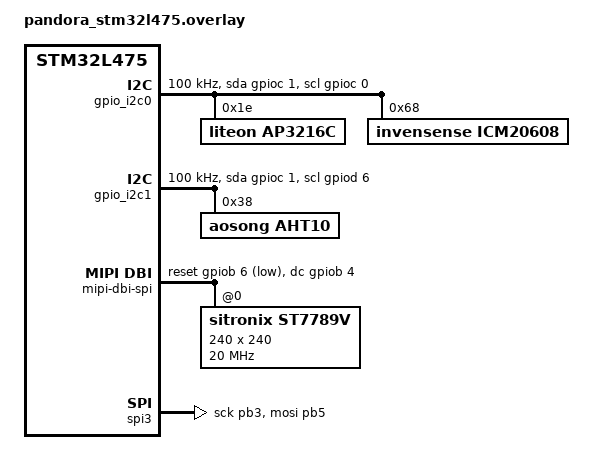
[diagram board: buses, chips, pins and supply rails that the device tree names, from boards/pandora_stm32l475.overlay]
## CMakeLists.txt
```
# SPDX-License-Identifier: Apache-2.0
cmake_minimum_required(VERSION 3.20.0)

# 查找 Zephyr 构建系统
find_package(Zephyr REQUIRED HINTS $ENV{ZEPHYR_BASE})

# 项目名称
project(stm32_ai)

# 添加应用源文件 — 每类功能对应独立文件
target_sources(app PRIVATE
	src/main.c
	src/led_thread.c
	src/aht10_thread.c
	src/ap3216c_thread.c
	src/icm20608_thread.c
	src/display_thread.c    # ★ LVGL 动画显示
	# src/norflash_thread.c  # ★ NOR Flash 自检 — 已关闭
)

# 添加传感器驱动源文件 — 每个传感器对应独立驱动目录
target_sources(app PRIVATE
	drivers/sensor/aht10/aht10.c
	drivers/sensor/ap3216c/ap3216c.c
	drivers/sensor/icm20608/icm20608.c
)

# 添加头文件搜索路径
target_include_directories(app PRIVATE
	include
	drivers/sensor/aht10
	drivers/sensor/ap3216c
	drivers/sensor/icm20608
)
```

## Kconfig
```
# Kconfig - STM32 AI 应用配置
# 必须引用 Zephyr 主 Kconfig 文件

source "Kconfig.zephyr"
rsource "drivers/sensor/Kconfig"
```

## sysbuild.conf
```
# sysbuild.conf — Sysbuild 多镜像构建配置
# 启用 MCUboot 作为二级引导程序，采用 Overwrite-Only 模式

SB_CONFIG_BOOTLOADER_MCUBOOT=y
SB_CONFIG_MCUBOOT_MODE_OVERWRITE_ONLY=y

# 项目专用 RSA-2048 签名密钥（sysbuild 级配置，会写入 MCUboot 子镜像的 .config.sysbuild）
SB_CONFIG_BOOT_SIGNATURE_KEY_FILE="E:/zephyrproject/stm32_ai/root-rsa-2048.pem"
```

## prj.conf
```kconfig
#
# Kernel & System (内核与系统基础)
#
# 定义系统时钟滴答的频率
CONFIG_SYS_CLOCK_TICKS_PER_SEC=1000
# 详细注释：v4.4.0 推荐使用 picolibc 以获得更小的 Flash 占用
CONFIG_PICOLIBC=y
# LVGL初始化或文件系统操作会复用main stack，因此需要增加 main stack size
CONFIG_MAIN_STACK_SIZE=6144
# 开启 Zephyr 的输入子系统
CONFIG_INPUT=y
# 初始化任务栈（用特定字节填充，用于监测栈使用量）
CONFIG_INIT_STACKS=y

#
# ==========================================================
# 第一部分：Console (控制台) - 解决“信息从哪发出来”
# ==========================================================
# 启用控制台基础功能
CONFIG_CONSOLE=y
# 启用早期控制台支持（内核启动初期的日志输出）
CONFIG_EARLY_CONSOLE=y

# 【关键点】必须为 y！
# 它是内核启动早期（Shell还没启动时）打印 Zephyr 版本信息的唯一通道。
# 如果设为 n，你将看不到 "*** Booting Zephyr OS ***" 这一行。
CONFIG_UART_CONSOLE=y

# 允许 printk 函数将信息发送到控制台
CONFIG_STDOUT_CONSOLE=y

# ==========================================================
# 第二部分：Logging (日志) - 解决“系统发生了什么”
# ==========================================================
# 启用日志系统
CONFIG_LOG=y

# 设置日志的显示模式
# 由于我们要用 Shell 来显示日志，所以禁用掉原始的 UART 直接输出模式，
# 防止日志和 Shell 的字符在屏幕上打架（乱码）。
CONFIG_LOG_BACKEND_UART=n

# 允许 printk 输出的信息也被当作日志处理
CONFIG_LOG_PRINTK=y

# 日志级别设置（4 是最高级别 INFO，能看到大部分信息）
CONFIG_LOG_MAX_LEVEL=4
CONFIG_LOG_DEFAULT_LEVEL=3

# ==========================================================
# 第三部分：Shell (外壳) - 解决“如何与开发板交互”
# ==========================================================
# 启用 Shell 功能
CONFIG_SHELL=y
CONFIG_SHELL_BACKENDS=y

# Shell 命令行线程栈大小
CONFIG_SHELL_STACK_SIZE=6144

# 启用串口作为 Shell 的后端（让你可以通过串口助手输入命令）
CONFIG_SHELL_BACKEND_SERIAL=y

# 启用 Shell 的日志后端
# 作用：让 Shell 接管 Log 系统的输出。
# 开启后，当系统产生日志时，Shell 会整齐地把它打印出来，
# 并且不会打断你正在输入的命令行（它会自动处理换行和光标）。
CONFIG_SHELL_LOG_BACKEND=y

# 设置 Shell 提示符，你在串口看到的就会是 my_board:~$
CONFIG_SHELL_PROMPT_UART="zephyr:~$ "

# 
# MCUboot 核心引导配置
# 
# 告诉 Zephyr 内核：当前应用程序是运行在 MCUboot 引导程序之上的
# 开启后，系统会自动处理好固件在 Flash 中的地址偏移（例如自动偏移到 0x20000）
CONFIG_BOOTLOADER_MCUBOOT=y

# prj.conf - STM32 AI 应用 Kconfig 配置
#
# USART1 (PA9/PA10): Shell/日志 + mcumgr SMP（分时复用）

# GPIO
CONFIG_GPIO=y

# I2C (传感器)
CONFIG_I2C=y
CONFIG_I2C_GPIO=y

# SPI (LCD)
CONFIG_SPI=y

# 传感器子系统
CONFIG_SENSOR=y

# === STM32 Flash 驱动 (内部 Flash + NOR Flash, indirect 模式) ===
# ★ QSPI 仅用 indirect 模式 — STM32L4 QUADSPI 不能同时开 indirect + MEMMAP
CONFIG_FLASH=y
CONFIG_SOC_FLASH_STM32=y
CONFIG_FLASH_MAP=y
CONFIG_STREAM_FLASH=y
CONFIG_IMG_MANAGER=y
CONFIG_FLASH_STM32_QSPI=y
# CONFIG_STM32_MEMMAP is not set  ← ★ 关键：应用层也不开 memory-mapped 模式
CONFIG_DMA=y

# === mcumgr SMP ===
CONFIG_NET_BUF=y
CONFIG_ZCBOR=y
CONFIG_BASE64=y
CONFIG_CRC=y
CONFIG_MCUMGR=y
CONFIG_MCUMGR_TRANSPORT_SHELL=y
CONFIG_MCUMGR_GRP_IMG=y
CONFIG_MCUMGR_GRP_OS=y
CONFIG_SHELL_BACKEND_DUMMY=y

# === 显示子系统 ===
# 启用 Zephyr 显示框架
CONFIG_DISPLAY=y

# === LVGL 图形库 ===
# 启用 LVGL 图形界面库
CONFIG_LVGL=y
# LVGL 颜色深度设置
CONFIG_LV_COLOR_DEPTH_16=y
# 设置 LVGL 每个像素占用的字节数 (16 位颜色即 2 字节)
CONFIG_LV_Z_BITS_PER_PIXEL=16
# 启用 16 位颜色字节交换 (RGB565 格式)
# 如果不开启 SWAP:数据存储顺序可能是 [高8位] [低8位](Big Endian)。
# 开启 SWAP 后：数据会被软件强制变成 [低8位] [高8位](Little Endian)。
# SPI 接口发送数据通常是按字节发送的,如果MCU是小端模式(Little Endian),
# 而屏幕期望的是大端数据（或者反过来）,像素传过去后,字节顺序反了.
# 现象:屏幕能显示图像,但颜色非常诡异,像杂色、花屏,或者颜色有颗粒感.
CONFIG_LV_COLOR_16_SWAP=y
# LVGL 内存池大小设置,给控件之类使用 (16 KB)
CONFIG_LV_Z_MEM_POOL_SIZE=16384
# 将 LVGL 内存池放在 Zephyr 的 Memory Region 中，允许我们指定它放在 SRAM1
CONFIG_LV_Z_MEMORY_POOL_ZEPHYR_REGION=y
# 指定设备树中的 SRAM1 区域作为 LVGL 内存池的存放位置
CONFIG_LV_Z_MEMORY_POOL_ZEPHYR_REGION_NAME="SRAM1"
# 绘图缓冲区（画布大小，240x240/10 像素）
CONFIG_LV_Z_VDB_SIZE=10
# 显存位置重定向 (使用 Memory Region 模式)
# 开启内存域放置功能，允许我们指定显存放在特定的内存区域（如 SDRAM）
CONFIG_LV_Z_VDB_ZEPHYR_REGION=y
# 指定设备树中的 SRAM1 区域
CONFIG_LV_Z_VDB_ZEPHYR_REGION_NAME="SRAM1"
# 启用 Montserrat 字体支持
CONFIG_LV_FONT_MONTSERRAT_24=y
CONFIG_LV_FONT_MONTSERRAT_32=y
CONFIG_LV_FONT_MONTSERRAT_48=y
# LVGL默认字体设置,默认是MONTSERRAT_14
# CONFIG_LV_FONT_DEFAULT_MONTSERRAT_8=y
```

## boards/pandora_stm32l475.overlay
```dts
/*
 * pandora_stm32l475.overlay — 设备树覆盖文件
 *
 * 功能:
 *   1. 为绿色 LED 添加便捷别名
 *   2. 定义 Flash 分区 — slot1 在外部 NOR Flash (W25Q128), slot0 448KB
 *   3. 指定应用代码链接分区 (slot0, 0x08010000)
 *   4. 配置 GPIO-I2C 软件模拟总线 (AHT10 / AP3216C / ICM20608)
 *
 * 硬件: Pandora STM32L475 IoT Board
 * 架构: USART1 (PA9/PA10) — 应用 Shell/日志 + mcumgr SMP（分时复用）
 *       Shell 和 mcumgr SMP 通过 Shell 传输层共存，无冲突
 *
 * ★ 串口升级方案（无按键）:
 *   应用层 mcumgr 接收固件 → 写入 slot1 (NOR Flash, QSPI indirect 模式) →
 *   标记 pending → 重启 → MCUboot 覆写 slot1→slot0 → 启动新固件
 *
 * Flash 布局 (NOR Flash 方案, QSPI indirect 模式, 不开 MEMMAP):
 *   内部 Flash (512KB):
 *     boot_partition:  64KB @ 0x08000000
 *     slot0_partition: 448KB @ 0x08010000 (应用主镜像, 空间最大化)
 *   外部 NOR Flash W25Q128 (16MB):
 *     slot1_partition: 448KB @ 0x00000000 (升级暂存槽)
 */

#include <zephyr/dt-bindings/i2c/i2c.h>
#include <zephyr/dt-bindings/display/panel.h>

/ {
	aliases {
		led0 = &blue_led;
		green-led = &green_led;
	};

	chosen {
		/* ★ 指定应用代码分区 — 应用链接到 slot0 (0x08010000) */
		zephyr,code-partition = &slot0_partition;
		/* ★ LVGL 显示设备 */
		zephyr,display = &st7789v;
	};

	/* [GPIO-I2C 0] SDA=PC1, SCL=PC0 — AP3216C (0x1E) + ICM20608 (0x68) */
	gpio_i2c0: gpio_i2c0 {
		compatible = "gpio-i2c";
		status = "okay";
		sda-gpios = <&gpioc 1 (GPIO_ACTIVE_HIGH | GPIO_OPEN_DRAIN)>;
		scl-gpios = <&gpioc 0 (GPIO_ACTIVE_HIGH | GPIO_OPEN_DRAIN)>;
		clock-frequency = <I2C_BITRATE_STANDARD>;
		#address-cells = <1>;
		#size-cells = <0>;

		ap3216c: ap3216c@1e {
			compatible = "liteon,ap3216c";
			reg = <0x1e>;
			status = "okay";
		};

		icm20608: icm20608@68 {
			compatible = "invensense,icm20608";
			reg = <0x68>;
			status = "okay";
		};
	};

	/* [GPIO-I2C 1] SDA=PC1, SCL=PD6 — AHT10 (0x38) */
	gpio_i2c1: gpio_i2c1 {
		compatible = "gpio-i2c";
		status = "okay";
		sda-gpios = <&gpioc 1 (GPIO_ACTIVE_HIGH | GPIO_OPEN_DRAIN)>;
		scl-gpios = <&gpiod 6 (GPIO_ACTIVE_HIGH | GPIO_OPEN_DRAIN)>;
		clock-frequency = <I2C_BITRATE_STANDARD>;
		#address-cells = <1>;
		#size-cells = <0>;

		aht10: aht10@38 {
			compatible = "aosong,aht10";
			reg = <0x38>;
			status = "okay";
		};
	};

	/*
	 * [MIPI-DBI-SPI 桥 + ST7789V 显示]
	 *
	 * 硬件连接 (SPI3):
	 *   SCK=PB3, MOSI=PB5, CS=PD7, DC=PB4, RST=PB6, BL=PB7
	 */
	mipi-dbi-spi {
		compatible = "zephyr,mipi-dbi-spi";
		spi-dev = <&spi3>;
		/* * 数据/命令选择引脚 (Data/Command)
		* 对应物理引脚 PB11，高电平有效 (GPIO_ACTIVE_HIGH)
		*/
		dc-gpios = <&gpiob 4 GPIO_ACTIVE_HIGH>;
		/* * 复位引脚 (Reset)
		* 对应物理引脚 PB10，低电平有效 (GPIO_ACTIVE_LOW)，拉低复位
		*/
		reset-gpios = <&gpiob 6 GPIO_ACTIVE_LOW>;
		write-only;
		status = "okay";
		#address-cells = <1>;
		#size-cells = <0>;

		st7789v:st7789v@0 {
			compatible = "sitronix,st7789v";
			status = "okay";
			mipi-mode = "MIPI_DBI_MODE_SPI_4WIRE";
			/* * SPI 通信最大频率
			* 这里设置为 4MHz (4,000,000 Hz)
			*/
			mipi-max-frequency = <20000000>;
			/* * 片选索引
			* <0> 表示使用 SPI 控制器的第 0 个片选引脚 
			*/
			reg = <0>;

			/* ========= 屏幕物理参数 ========= */

			/* 屏幕宽度：240 像素 */
			width = <240>;
			/* 屏幕高度：280 像素 */
			height = <240>;
			/* * X 轴偏移量
			* ST7789 驱动芯片支持的分辨率往往比实际屏幕大，需要设置偏移量来对齐图像
			*/
			x-offset = <0>;
			/* Y 轴偏移量：20 像素 */
			y-offset = <0>;

			pixel-format = <PANEL_PIXEL_FORMAT_RGB_565>;

			/* ========= 寄存器初始化参数 (对应 st7789v.h) ========= */

			/* * VCOMS 设置 (VCOMS Setting)
			* 对应头文件命令: ST7789V_CMD_VCOMS (0xBB)
			* 作用: 设置 VCOM 电压，控制屏幕对比度和闪烁
			* 当前值: 0x3F (十进制 63)
			*/
			vcom = <0x19>;
			/* * 栅极控制 (Gate Control)
			* 对应头文件命令: ST7789V_CMD_GCTRL (0xB7)
			* 作用: 设置栅极电压输出电平 (VGH/VGL)
			* 当前值: 0x05 (具体电压需查阅数据手册电气特性表)
			*/
			gctrl = <0x35>;
			/* * VRH 设置 (VRH Setting)
			* 对应头文件命令: ST7789V_CMD_VRH (0xC3)
			* 作用: VRH 电压设置，影响显示屏的伽马电压幅度
			* 当前值: 0x0F
			*/
			vrhs = <0x12>;
			/* * VDV 设置 (VDV Setting)
			* 对应头文件命令: ST7789V_CMD_VDS (0xC4)
			* 作用: VDV 电压设置，与 VRH 配合调节
			* 当前值: 0x20
			*/
			vdvs = <0x20>;
			/* * 存储数据访问控制 (Memory Data Access Control)
			* 对应头文件命令: ST7789V_CMD_MADCTL (0x36)
			* 作用: 控制屏幕旋转、镜像、RGB/BGR 顺序(红蓝反色)
			* 当前值: 0x00 
			* 解析: 对应 ST7789V_MADCTL_MY_TOP_TO_BOTTOM (0x00) | ST7789V_MADCTL_MX_LEFT_TO_RIGHT (0x00)
			* 含义: 正常显示，无旋转，RGB 顺序
			*/
			mdac = <0x00>;
			/* * 伽马曲线选择 (Gamma Set)
			* 对应头文件命令: ST7789V_CMD_GAMSET (0x26)
			* 作用: 选择预设的伽马曲线
			* 当前值: 0x01 (通常表示使用 Gamma Curve 1)
			*/
			gamma = <0x01>;
			/* * 接口像素格式 (Interface Pixel Format)
			* 对应头文件命令: ST7789V_CMD_COLMOD (0x3A)
			* 作用: 设置颜色深度
			* 当前值: 0x05 
			* 解析: 对应 ST7789V_COLMOD_FMT_16bit (5)
			* 含义: 使用 16位颜色 (RGB565)
			*/
			// colmod = <0x65>;
			/* * LCM 控制 (LCM Control)
			* 对应头文件命令: ST7789V_CMD_LCMCTRL (0xC0)
			* 作用: 某些特定面板的设置
			* 当前值: 0x2c
			* 解析: 0x20 (XBGR) | 0x08 (XMX) | 0x04 (XMH)
			* 含义: 根据头文件，设置了 XBGR, XMX, XMH 位
			*/
			lcm = <0x2c>;
			/* * 前廊控制 (Porch Control)
			* 对应头文件命令: ST7789V_CMD_PORCTRL (0xB2)
			* 作用: 设置前廊、后廊时间，影响刷新时序
			* 参数: [0c 0c 00 33 33] (5个字节的参数序列)
			*/
			porch-param = [0c 0c 00 33 33];
			/* * 命令 2 使能 (Command 2 Enable)
			* 对应头文件命令: ST7789V_CMD_CMD2EN (0xDF)
			* 作用: 开启特殊命令访问权限 (通常用于制造厂商调试)
			* 参数: [5a 69 02 01] (解锁密钥序列)
			*/
			cmd2en-param = [5a 69 02 01];
			/* * 电源控制 1 (Power Control 1)
			* 对应头文件命令: ST7789V_CMD_PWCTRL1 (0xD0)
			* 作用: 设置 AVDD, VCL, VGH, VGL 电压
			* 参数: [a4 a1]
			*/
			pwctrl1-param = [a4 a1];
			/* * 正极性伽马校正 (Positive Gamma Control)
			* 对应头文件命令: ST7789V_CMD_PVGAMCTRL (0xE0)
			* 作用: 调整红色/高亮部分的灰度表现
			* 参数: 14个字节的校准数据
			*/
			pvgam-param = [d0 04 0d 11 13 2b 3f 54 4c 18 0d 0b 1f 23];
			/* * 负极性伽马校正 (Negative Gamma Control)
			* 对应头文件命令: ST7789V_CMD_NVGAMCTRL (0xE1)
			* 作用: 调整暗部/黑色的灰度表现
			* 参数: 14个字节的校准数据
			*/
			nvgam-param = [d0 04 0c 11 13 2c 3f 44 51 2f 1f 1f 20 23];
			/* * RAM 控制 (RAM Control)
			* 对应头文件命令: ST7789V_CMD_RAMCTRL (0xB0)
			* 作用: 设置接口类型和访问方式
			* 参数: [00 F0]
			*/
			ram-param = [00 F0];
			/* * RGB 接口控制 (RGB Interface Control)
			* 对应头文件命令: ST7789V_CMD_RGBCTRL (0xB1)
			* 作用: 设定 RGB 接口的时序和极性
			* 参数: [CD 08 14]
			*/
			rgb-param = [CD 08 14];
			// inversion-off;
		};
	};
};

/* [DMA] QSPI NOR Flash 和 SPI 通信依赖 */
&dma1 {
	status = "okay";
};

&dma2 {
	status = "okay";
};

/* [SPI3] LCD 通信 — SCK=PB3, MOSI=PB5, CS=PD7 */
&spi3 {
	status = "okay";
	pinctrl-0 = <&spi3_sck_pb3 &spi3_mosi_pb5>;
	pinctrl-names = "default";
	cs-gpios = <&gpiod 7 GPIO_ACTIVE_LOW>;
};

/*
 * [Flash 分区] NOR Flash 方案
 *
 * 内部 Flash (512KB):
 * ┌──────────────────┐ 0x08000000
 * │ boot_partition   │ 64KB
 * ├──────────────────┤ 0x08010000
 * │ slot0_partition  │ 448KB (空间最大化)
 * └──────────────────┘ 0x08080000
 *
 * 外部 NOR Flash W25Q128 (16MB):
 * ┌──────────────────┐ 0x00000000
 * │ slot1_partition  │ 448KB (与 slot0 大小一致)
 * └──────────────────┘
 */
&flash0 {
	partitions {
		compatible = "fixed-partitions";
		#address-cells = <1>;
		#size-cells = <1>;

		boot_partition: partition@0 {
			label = "mcuboot";
			reg = <0x00000000 0x10000>;
			read-only;
		};

		slot0_partition: partition@10000 {
			label = "image-0";
			reg = <0x00010000 0x70000>;
		};
	};
};

/* ★ slot1 移到外部 NOR Flash W25Q128 */
&w25q128jv {
	partitions {
		compatible = "fixed-partitions";
		#address-cells = <1>;
		#size-cells = <1>;

		slot1_partition: partition@0 {
			label = "image-1";
			reg = <0x00000000 0x70000>;
		};
	};
};
/*
 * ******************************************************************************
 * ★ slot1 移到外部 NOR Flash W25Q128
 * W25Q128JV 四功能分区级规划（升级/系统/用户/文件系统）
 * ******************************************************************************
 */
&w25q128jv {
    partitions {
        compatible = "fixed-partitions";
        #address-cells = <1>;
        #size-cells = <1>;

        /* ==========================================
         * 1. 升级下载槽 (slot1_partition)
         * 偏移: 0x00000000 -> 大小: 448KB (0x70000)
         * ========================================== */
        slot1_partition: partition@0 {
            label = "image-1";
            reg = <0x00000000 0x70000>;
        };

        /* ==========================================
         * 2. RTOS 系统区 / 备份区 (rtos_sys_partition)
         * 偏移: 0x00070000 (紧接上一分区)
         * 大小: 1MB (0x100000)
         * ========================================== */
        rtos_sys_partition: partition@70000 {
            label = "rtos-system";
            reg = <0x00070000 0x100000>;
        };

        /* ==========================================
         * 3. 用户裸数据使用区 (user_raw_partition)
         * 偏移: 0x00170000 (0x070000 + 0x100000)
         * 大小: 2MB (0x200000)
         * ========================================== */
        user_raw_partition: partition@170000 {
            label = "user-raw";
            reg = <0x00170000 0x200000>;
        };

        /* ==========================================
         * 4. LittleFS 文件系统区 (storage_partition)
         * 偏移: 0x00370000 (0x170000 + 0x200000)
         * 大小: 12.5625MB (0xC90000) -> 吞掉剩下所有空间
         * ========================================== */
        storage_partition: partition@370000 {
            label = "storage";
            reg = <0x00370000 0xC90000>;
        };
    };
};
```

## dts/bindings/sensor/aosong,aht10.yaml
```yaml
# Aosong AHT10 temperature and humidity sensor binding
#
# Copyright (c) 2026
# SPDX-License-Identifier: Apache-2.0

description: |
    Aosong AHT10 digital temperature and humidity sensor.
    Connected via I2C, default address 0x38.
    Measures temperature (-40°C to +85°C) and humidity (0% to 100% RH).

compatible: "aosong,aht10"

include: [sensor-device.yaml, i2c-device.yaml]
```

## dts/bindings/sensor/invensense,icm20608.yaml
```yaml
# InvenSense ICM20608 6-axis IMU sensor binding
#
# Copyright (c) 2026
# SPDX-License-Identifier: Apache-2.0

description: |
    InvenSense ICM-20608-G 6-axis MEMS motion tracking device.
    Connected via I2C (default address 0x68) or SPI.
    Measures 3-axis accelerometer and 3-axis gyroscope data.

compatible: "invensense,icm20608"

include: [sensor-device.yaml, i2c-device.yaml]

properties:
  accel-fs:
    type: int
    default: 2
    enum: [2, 4, 8, 16]
    description: Accelerometer full-scale range in g.

  gyro-fs:
    type: int
    default: 250
    enum: [250, 500, 1000, 2000]
    description: Gyroscope full-scale range in dps.

  smplrt-div:
    type: int
    default: 0
    description: Sample rate divider (sample rate = 1kHz / (1 + smplrt-div)).
```

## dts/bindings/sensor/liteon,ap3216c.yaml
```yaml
# Liteon AP3216C ambient light and proximity sensor binding
#
# Copyright (c) 2026
# SPDX-License-Identifier: Apache-2.0

description: |
    Liteon AP3216C ambient light sensor (ALS), proximity sensor (PS),
    and infrared sensor (IR). Connected via I2C, default address 0x1E.

compatible: "liteon,ap3216c"

include: [sensor-device.yaml, i2c-device.yaml]
```

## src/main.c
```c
/*
 * main.c — STM32 AI 应用主程序
 * 功能: 打印开发板信息，释放 CPU 给工作线程
 * 硬件: Pandora STM32L475 IoT Board
 */

/* [头文件] Zephyr 内核和日志 */
#include <zephyr/kernel.h>
#include <zephyr/logging/log.h>

#include "sensor_data.h"

/* [日志] 注册 main 模块 */
LOG_MODULE_REGISTER(main, LOG_LEVEL_INF);

/* [全局] 传感器共享数据实例 — 所有传感器线程写入，显示线程读取 */
struct sensor_data g_sensor_data;

/* [入口] 主函数 — 只打印信息，业务逻辑交给独立线程 */
int main(void)
{
	/* [信息] 输出当前开发板型号 */
	LOG_INF("应用启动完成, Board: %s", CONFIG_BOARD);

	/* [休眠] 永久休眠，释放 CPU 和栈空间给工作线程 */
	while (1) {
		k_sleep(K_FOREVER);
	}
	return 0;
}
```

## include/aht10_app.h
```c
/*
 * aht10_app.h — AHT10 应用线程公共接口
 *
 * 仅声明线程入口函数，供外部引用 (如 shell 命令)。
 */

#ifndef INCLUDE_AHT10_APP_H_
#define INCLUDE_AHT10_APP_H_

#include <zephyr/kernel.h>

/** AHT10 温湿度采集线程入口 */
extern void aht10_thread_entry(void *p1, void *p2, void *p3);

/** AHT10 线程 ID (由 K_THREAD_DEFINE 定义, 类型为 const) */
extern const k_tid_t aht10_tid;

#endif /* INCLUDE_AHT10_APP_H_ */
```

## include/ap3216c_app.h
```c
/*
 * ap3216c_app.h — AP3216C 应用线程公共接口
 */

#ifndef INCLUDE_AP3216C_APP_H_
#define INCLUDE_AP3216C_APP_H_

#include <zephyr/kernel.h>

/** AP3216C 环境光/接近采集线程入口 */
extern void ap3216c_thread_entry(void *p1, void *p2, void *p3);

/** AP3216C 线程 ID (类型为 const) */
extern const k_tid_t ap3216c_tid;

#endif /* INCLUDE_AP3216C_APP_H_ */
```

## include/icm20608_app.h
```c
/*
 * icm20608_app.h — ICM20608 应用线程公共接口
 */

#ifndef INCLUDE_ICM20608_APP_H_
#define INCLUDE_ICM20608_APP_H_

#include <zephyr/kernel.h>

/** ICM20608 IMU 采集线程入口 */
extern void icm20608_thread_entry(void *p1, void *p2, void *p3);

/** ICM20608 线程 ID (类型为 const) */
extern const k_tid_t icm20608_tid;

#endif /* INCLUDE_ICM20608_APP_H_ */
```

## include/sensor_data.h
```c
/*
 * sensor_data.h — 传感器共享数据结构
 *
 * 所有传感器线程将最新读数写入此结构 (mutex保护)
 * display_thread 通过 lv_timer 回调读取并更新 UI
 */

#ifndef SENSOR_DATA_H
#define SENSOR_DATA_H

#include <zephyr/kernel.h>
#include <stdbool.h>
#include <stdint.h>

struct sensor_data {
	struct k_mutex lock;

	/* AHT10 温湿度 */
	int32_t temp_val1, temp_val2;   /* 温度: val1.val2 (带1位小数) */
	int32_t hum_val1, hum_val2;     /* 湿度: val1.val2 */
	bool aht10_valid;

	/* AP3216C 环境光/接近/红外 */
	int32_t als_val1, als_val2;     /* 环境光 lux */
	int32_t ir_val1, ir_val2;       /* 红外 */
	int32_t ps_val1, ps_val2;       /* 接近 */
	bool ap3216c_valid;

	/* ICM20608 六轴 IMU */
	int32_t accel_x_v1, accel_x_v2; /* 加速度 X */
	int32_t accel_y_v1, accel_y_v2; /* 加速度 Y */
	int32_t accel_z_v1, accel_z_v2; /* 加速度 Z */
	int32_t gyro_x_v1, gyro_x_v2;   /* 陀螺仪 X */
	int32_t gyro_y_v1, gyro_y_v2;   /* 陀螺仪 Y */
	int32_t gyro_z_v1, gyro_z_v2;   /* 陀螺仪 Z */
	bool icm20608_valid;
};

/* 全局传感器数据实例 (main.c 中定义) */
extern struct sensor_data g_sensor_data;

#endif /* SENSOR_DATA_H */
```

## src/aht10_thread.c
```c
/*
 * aht10_thread.c — AHT10 温湿度传感器采集线程
 *
 * 功能: 每 2 秒采集一次温湿度, 写入共享数据结构供显示线程读取
 * 使用 Zephyr 标准传感器 API (sensor_sample_fetch + sensor_channel_get)
 *
 * 硬件: Aosong AHT10 (I2C, 0x38)
 * 驱动: drivers/sensor/aht10/
 *
 * 日志: LOG_LEVEL_WRN — 仅输出警告和错误, 不打印常规数值
 */

#include <zephyr/kernel.h>
#include <zephyr/devicetree.h>
#include <zephyr/drivers/sensor.h>
#include <zephyr/logging/log.h>

#include "sensor_data.h"

LOG_MODULE_REGISTER(aht10_thread, LOG_LEVEL_WRN);

/* 线程参数 */
#define AHT10_STACK_SIZE  1024
#define AHT10_PRIORITY    14
#define AHT10_SAMPLE_MS   2000 /* 采样周期 2s */

/* 从设备树获取传感器设备 */
#define AHT10_DEV_NODE  DT_NODELABEL(aht10)

void aht10_thread_entry(void *p1, void *p2, void *p3)
{
	const struct device *dev = DEVICE_DT_GET(AHT10_DEV_NODE);
	struct sensor_value temp, humidity;
	int ret;

	k_msleep(200);

	if (!device_is_ready(dev)) {
		LOG_ERR("AHT10: device not ready");
		return;
	}

	LOG_INF("AHT10 Thread started");

	while (1) {
		ret = sensor_sample_fetch(dev);
		if (ret == 0) {
			sensor_channel_get(dev, SENSOR_CHAN_AMBIENT_TEMP, &temp);
			sensor_channel_get(dev, SENSOR_CHAN_HUMIDITY, &humidity);

			/* [共享] 写入全局传感器数据结构 */
			k_mutex_lock(&g_sensor_data.lock, K_FOREVER);
			g_sensor_data.temp_val1 = temp.val1;
			g_sensor_data.temp_val2 = temp.val2;
			g_sensor_data.hum_val1  = humidity.val1;
			g_sensor_data.hum_val2  = humidity.val2;
			g_sensor_data.aht10_valid = true;
			k_mutex_unlock(&g_sensor_data.lock);
		} else if (ret == -EBUSY) {
			LOG_WRN("AHT10: busy");
		} else {
			LOG_ERR("AHT10: fetch error (ret=%d)", ret);
		}

		k_msleep(AHT10_SAMPLE_MS);
	}
}

K_THREAD_DEFINE(aht10_tid, AHT10_STACK_SIZE,
		aht10_thread_entry, NULL, NULL, NULL,
		AHT10_PRIORITY, 0, 0);
```

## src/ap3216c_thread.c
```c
/*
 * ap3216c_thread.c — AP3216C 环境光/接近传感器采集线程
 *
 * 功能: 每 500ms 采集一次 ALS/IR/PS, 写入共享数据结构供显示线程读取
 *       使用 Zephyr 标准传感器 API
 *
 * 硬件: Liteon AP3216C (I2C, 0x1E)
 * 驱动: drivers/sensor/ap3216c/
 *
 * 日志: LOG_LEVEL_WRN — 仅输出警告和错误, 不打印常规数值
 */

#include <zephyr/kernel.h>
#include <zephyr/devicetree.h>
#include <zephyr/drivers/sensor.h>
#include <zephyr/logging/log.h>

#include "sensor_data.h"

LOG_MODULE_REGISTER(ap3216c_thread, LOG_LEVEL_WRN);

#define AP3216C_STACK_SIZE  1024
#define AP3216C_PRIORITY    14
#define AP3216C_SAMPLE_MS   500 /* 采样周期 500ms */

#define AP3216C_DEV_NODE  DT_NODELABEL(ap3216c)

void ap3216c_thread_entry(void *p1, void *p2, void *p3)
{
	const struct device *dev = DEVICE_DT_GET(AP3216C_DEV_NODE);
	struct sensor_value als, ir, ps;
	int ret;

	k_msleep(250);

	if (!device_is_ready(dev)) {
		LOG_ERR("AP3216C: device not ready");
		return;
	}

	LOG_INF("AP3216C Thread started");

	while (1) {
		ret = sensor_sample_fetch(dev);
		if (ret == 0) {
			sensor_channel_get(dev, SENSOR_CHAN_LIGHT, &als);
			sensor_channel_get(dev, SENSOR_CHAN_IR, &ir);
			sensor_channel_get(dev, SENSOR_CHAN_PROX, &ps);

			/* [共享] 写入全局传感器数据结构 */
			k_mutex_lock(&g_sensor_data.lock, K_FOREVER);
			g_sensor_data.als_val1 = als.val1;
			g_sensor_data.als_val2 = als.val2;
			g_sensor_data.ir_val1  = ir.val1;
			g_sensor_data.ir_val2  = ir.val2;
			g_sensor_data.ps_val1  = ps.val1;
			g_sensor_data.ps_val2  = ps.val2;
			g_sensor_data.ap3216c_valid = true;
			k_mutex_unlock(&g_sensor_data.lock);
		} else {
			LOG_ERR("AP3216C: read error (ret=%d)", ret);
		}

		k_msleep(AP3216C_SAMPLE_MS);
	}
}

K_THREAD_DEFINE(ap3216c_tid, AP3216C_STACK_SIZE,
		ap3216c_thread_entry, NULL, NULL, NULL,
		AP3216C_PRIORITY, 0, 0);
```

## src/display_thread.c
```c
/*
 * display_thread.c — LVGL 动效验证 (四球公转 + 脉冲中心 + 轨道环)
 *
 * 功能: 验证 LVGL + ST7789V + MIPI-DBI-SPI 显示通路的动画渲染能力
 * 硬件: Pandora STM32L475 IoT Board
 * 显示: ST7789V 240x240 (SPI3)
 * 背光: PB7 GPIO
 *
 * ★ LVGL 通过 CONFIG_LV_Z_AUTO_INIT=y 自动初始化, 本线程不调用 lvgl_init()
 */

/* [头文件] Zephyr 内核、GPIO、显示驱动和日志 */
#include <zephyr/kernel.h>
#include <zephyr/devicetree.h>
#include <zephyr/drivers/gpio.h>
#include <zephyr/drivers/display.h>
#include <zephyr/logging/log.h>

#include <lvgl.h>
#include <math.h>

/* [日志] 注册 display_thread 模块 */
LOG_MODULE_REGISTER(display_thread, LOG_LEVEL_INF);

/* [设备树] 显示设备 */
static const struct device *display_dev = DEVICE_DT_GET(DT_CHOSEN(zephyr_display));

/* [常量] 屏幕中心坐标 (240×240 → 中心 = 120,120) */
#define SCR_CX 120
#define SCR_CY 120

/* [对象] 四颗轨道小球指针 */
static lv_obj_t *ball_r;   /* 红色 — 内轨道 (r=40) */
static lv_obj_t *ball_g;   /* 绿色 — 中内轨道 (r=55) */
static lv_obj_t *ball_b;   /* 蓝色 — 中外轨道 (r=70) */
static lv_obj_t *ball_y;   /* 黄色 — 外轨道 (r=85) */

/* [对象] 中心脉冲圆 */
static lv_obj_t *center_dot;

/* [动画] 全局轨道角度变量 (0~3600, 单位 0.1°, 即 0°~360°) */
static int32_t orbit_angle = 0;

/* ================================================================
 * [动画回调] 轨道小球 — 计算四个球的屏幕坐标并实时更新位置
 *
 * 四颗球以相同角速度、不同轨道半径公转。
 * 相位各差 90° (900 单位), 均匀分布在圆周上。
 * ================================================================ */
static void orbit_anim_cb(void *var, int32_t v)
{
	float rad;
	lv_coord_t x, y;

	/* [数组] 四个球的指针、轨道半径、初始相位 */
	lv_obj_t *targets[4] = { ball_r, ball_g, ball_b, ball_y };
	int32_t  radius[4]   = { 40, 55, 70, 85 };
	int32_t  phase[4]    = { 0, 900, 1800, 2700 };  /* 各差 90° */

	orbit_angle = v;

	for (int i = 0; i < 4; i++) {
		/* 将角度换算为弧度，计算球心坐标 */
		rad = (float)((v + phase[i]) % 3600) * 3.14159f / 1800.0f;
		x = SCR_CX + (lv_coord_t)((float)radius[i] * cosf(rad)) - 7;
		y = SCR_CY + (lv_coord_t)((float)radius[i] * sinf(rad)) - 7;
		lv_obj_set_pos(targets[i], x, y);
	}
}

/* ================================================================
 * [动画回调] 脉冲中心 — 改变圆心控件大小 (10↔24 往返)
 * ================================================================ */
static void pulse_cb(void *var, int32_t v)
{
	lv_obj_set_size(center_dot, (lv_coord_t)v, (lv_coord_t)v);
}

/**
 * @brief 显示线程入口函数
 *
 * 流程 (参照 stm32_app):
 *   1. 等待驱动就绪 → 2. 检查显示设备 → 3. 开启显示
 *   → 4. 开启背光 → 5. 构建动画场景 → 6. 进入 LVGL 主循环
 *
 * ★ 不调用 lvgl_init() — LVGL 已通过 CONFIG_LV_Z_AUTO_INIT=y 自动初始化
 *
 * @param p1, p2, p3 线程参数（由 K_THREAD_DEFINE 传入，此处未使用）
 */
void display_thread_entry(void *p1, void *p2, void *p3)
{
	int ret;

	/* [延时] 等待 SPI/MIPI-DBI/ST7789V 驱动完全就绪 */
	k_msleep(500);

	LOG_INF("Display Thread started");

	/* [检查] 验证显示设备是否已就绪 */
	if (!device_is_ready(display_dev)) {
		LOG_ERR("Display device %s is not ready", display_dev->name);
		return;
	}
	LOG_INF("Found display device: %s", display_dev->name);

	/* [操作] 开启显示面板 */
	ret = display_blanking_off(display_dev);
	if (ret < 0) {
		LOG_ERR("Failed to turn display on (ret=%d)", ret);
		return;
	}
	LOG_INF("Display panel ON");

	/* [背光] PB7 GPIO 使能 LCD 背光 */
	const struct device *gpiob = DEVICE_DT_GET(DT_NODELABEL(gpiob));
	if (device_is_ready(gpiob)) {
		ret = gpio_pin_configure(gpiob, 7, GPIO_OUTPUT_ACTIVE);
		if (ret == 0) {
			gpio_pin_set_raw(gpiob, 7, 1);
			LOG_INF("Backlight ON (PB7)");
		}
	} else {
		LOG_WRN("GPIOB not ready, backlight skipped");
	}

	/* ================================================================
	 * [场景构建] 创建所有动画元素
	 * ================================================================ */

	/* [屏幕] 深色背景 */
	lv_obj_t *scr = lv_scr_act();
	lv_obj_set_style_bg_color(scr, lv_color_hex(0x0A0A18), 0);
	lv_obj_set_style_bg_opa(scr, LV_OPA_COVER, 0);

	/* [控件] 静态轨道参考圆环 — 仅显示边框，透明填充，作视觉引导 */
	lv_obj_t *guide = lv_obj_create(scr);
	lv_obj_set_size(guide, 180, 180);
	lv_obj_set_style_radius(guide, LV_RADIUS_CIRCLE, 0);
	lv_obj_set_style_bg_opa(guide, LV_OPA_TRANSP, 0);
	lv_obj_set_style_border_width(guide, 1, 0);
	lv_obj_set_style_border_color(guide, lv_color_hex(0x1A1A44), 0);
	lv_obj_set_style_border_opa(guide, LV_OPA_60, 0);
	lv_obj_center(guide);

	/* [控件] 红色小球 — 内轨道，半径 40px */
	ball_r = lv_obj_create(scr);
	lv_obj_set_size(ball_r, 14, 14);
	lv_obj_set_style_radius(ball_r, LV_RADIUS_CIRCLE, 0);
	lv_obj_set_style_bg_color(ball_r, lv_color_hex(0xFF3355), 0);
	lv_obj_set_style_border_width(ball_r, 0, 0);
	lv_obj_set_style_bg_opa(ball_r, LV_OPA_COVER, 0);

	/* [控件] 绿色小球 — 中内轨道，半径 55px */
	ball_g = lv_obj_create(scr);
	lv_obj_set_size(ball_g, 14, 14);
	lv_obj_set_style_radius(ball_g, LV_RADIUS_CIRCLE, 0);
	lv_obj_set_style_bg_color(ball_g, lv_color_hex(0x33FF77), 0);
	lv_obj_set_style_border_width(ball_g, 0, 0);
	lv_obj_set_style_bg_opa(ball_g, LV_OPA_COVER, 0);

	/* [控件] 蓝色小球 — 中外轨道，半径 70px */
	ball_b = lv_obj_create(scr);
	lv_obj_set_size(ball_b, 14, 14);
	lv_obj_set_style_radius(ball_b, LV_RADIUS_CIRCLE, 0);
	lv_obj_set_style_bg_color(ball_b, lv_color_hex(0x3399FF), 0);
	lv_obj_set_style_border_width(ball_b, 0, 0);
	lv_obj_set_style_bg_opa(ball_b, LV_OPA_COVER, 0);

	/* [控件] 黄色小球 — 外轨道，半径 85px */
	ball_y = lv_obj_create(scr);
	lv_obj_set_size(ball_y, 14, 14);
	lv_obj_set_style_radius(ball_y, LV_RADIUS_CIRCLE, 0);
	lv_obj_set_style_bg_color(ball_y, lv_color_hex(0xFFCC33), 0);
	lv_obj_set_style_border_width(ball_y, 0, 0);
	lv_obj_set_style_bg_opa(ball_y, LV_OPA_COVER, 0);

	/* [控件] 中心脉冲圆点 — 半透明白色 */
	center_dot = lv_obj_create(scr);
	lv_obj_set_size(center_dot, 16, 16);
	lv_obj_set_style_radius(center_dot, LV_RADIUS_CIRCLE, 0);
	lv_obj_set_style_bg_color(center_dot, lv_color_hex(0xFFFFFF), 0);
	lv_obj_set_style_border_width(center_dot, 0, 0);
	lv_obj_set_style_bg_opa(center_dot, LV_OPA_70, 0);
	lv_obj_center(center_dot);

	/* ================================================================
	 * [动画启动] 两个独立动画同时运行
	 * ================================================================ */

	/* [动画] 轨道小球 — 5 秒匀速公转一圈，无限循环 */
	lv_anim_t anim_orbit;
	lv_anim_init(&anim_orbit);
	lv_anim_set_var(&anim_orbit, &orbit_angle);
	lv_anim_set_exec_cb(&anim_orbit, orbit_anim_cb);
	lv_anim_set_values(&anim_orbit, 0, 3600);
	lv_anim_set_duration(&anim_orbit, 5000);
	lv_anim_set_repeat_count(&anim_orbit, LV_ANIM_REPEAT_INFINITE);
	lv_anim_start(&anim_orbit);

	/* [动画] 脉冲中心 — 0.7s 放大 → 0.7s 缩小，无限往返 */
	lv_anim_t anim_pulse;
	lv_anim_init(&anim_pulse);
	lv_anim_set_var(&anim_pulse, &anim_pulse);  /* var 仅作占位符,实际在回调中操作 center_dot */
	lv_anim_set_exec_cb(&anim_pulse, pulse_cb);
	lv_anim_set_values(&anim_pulse, 10, 24);
	lv_anim_set_duration(&anim_pulse, 700);
	lv_anim_set_playback_duration(&anim_pulse, 700);
	lv_anim_set_repeat_count(&anim_pulse, LV_ANIM_REPEAT_INFINITE);
	lv_anim_start(&anim_pulse);

	LOG_INF("LVGL animation started — 4-layer orbiting balls + pulse center");

	/* [主循环] 驱动 LVGL timer handler, 50 FPS */
	while (1) {
		lv_timer_handler();
		k_msleep(20);
	}
}

/* [线程配置] 栈大小和优先级 */
#define DISPLAY_STACK_SIZE 8192  /* 线程栈大小（单位：字节） */
#define DISPLAY_PRIORITY    10   /* 线程优先级（数字越大优先级越低） */

/**
 * @brief 定义并自动启动显示线程
 *
 * K_THREAD_DEFINE 参数依次为：
 * 线程 ID, 栈大小, 入口函数, 参数1, 参数2, 参数3, 优先级, 选项, 启动延迟
 */
K_THREAD_DEFINE(display_thread_tid, DISPLAY_STACK_SIZE,
		display_thread_entry, NULL, NULL, NULL,
		DISPLAY_PRIORITY, 0, 0);
```

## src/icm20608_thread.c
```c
/*
 * icm20608_thread.c — ICM20608 六轴 IMU 传感器采集线程
 *
 * 功能: 每 100ms (10Hz) 采集加速度计+陀螺仪, 写入共享数据结构供显示线程读取
 *       使用 Zephyr 标准传感器 API
 *
 * 硬件: InvenSense ICM-20608-G (I2C, 0x68)
 * 驱动: drivers/sensor/icm20608/
 *
 * 日志: LOG_LEVEL_WRN — 仅输出警告和错误, 不打印常规数值
 */

#include <zephyr/kernel.h>
#include <zephyr/devicetree.h>
#include <zephyr/drivers/sensor.h>
#include <zephyr/logging/log.h>

#include "sensor_data.h"

LOG_MODULE_REGISTER(icm20608_thread, LOG_LEVEL_WRN);

#define ICM20608_STACK_SIZE  1024
#define ICM20608_PRIORITY    14
#define ICM20608_SAMPLE_MS   100 /* 采样周期 100ms (10Hz) */

#define ICM20608_DEV_NODE  DT_NODELABEL(icm20608)

void icm20608_thread_entry(void *p1, void *p2, void *p3)
{
	const struct device *dev = DEVICE_DT_GET(ICM20608_DEV_NODE);
	struct sensor_value accel[3], gyro[3], temp;
	int ret;

	k_msleep(300);

	if (!device_is_ready(dev)) {
		LOG_ERR("ICM20608: device not ready");
		return;
	}

	LOG_INF("ICM20608 Thread started");

	while (1) {
		ret = sensor_sample_fetch(dev);
		if (ret == 0) {
			sensor_channel_get(dev, SENSOR_CHAN_ACCEL_XYZ, accel);
			sensor_channel_get(dev, SENSOR_CHAN_GYRO_XYZ, gyro);
			sensor_channel_get(dev, SENSOR_CHAN_DIE_TEMP, &temp);

			/* [共享] 写入全局传感器数据结构 */
			k_mutex_lock(&g_sensor_data.lock, K_FOREVER);
			g_sensor_data.accel_x_v1 = accel[0].val1;
			g_sensor_data.accel_x_v2 = accel[0].val2;
			g_sensor_data.accel_y_v1 = accel[1].val1;
			g_sensor_data.accel_y_v2 = accel[1].val2;
			g_sensor_data.accel_z_v1 = accel[2].val1;
			g_sensor_data.accel_z_v2 = accel[2].val2;
			g_sensor_data.gyro_x_v1  = gyro[0].val1;
			g_sensor_data.gyro_x_v2  = gyro[0].val2;
			g_sensor_data.gyro_y_v1  = gyro[1].val1;
			g_sensor_data.gyro_y_v2  = gyro[1].val2;
			g_sensor_data.gyro_z_v1  = gyro[2].val1;
			g_sensor_data.gyro_z_v2  = gyro[2].val2;
			g_sensor_data.icm20608_valid = true;
			k_mutex_unlock(&g_sensor_data.lock);
		} else {
			LOG_ERR("ICM20608: read error (ret=%d)", ret);
		}

		k_msleep(ICM20608_SAMPLE_MS);
	}
}

K_THREAD_DEFINE(icm20608_tid, ICM20608_STACK_SIZE,
		icm20608_thread_entry, NULL, NULL, NULL,
		ICM20608_PRIORITY, 0, 0);
```

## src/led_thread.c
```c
/*
 * led_thread.c — 绿色 LED 闪烁独立线程
 * 功能: 500ms 间隔闪烁 Pandora 板绿色 LED
 * 硬件: Pandora STM32L475 IoT Board
 * 引脚: PE8 (green_led) — 共阳极 RGB LED 绿色通道
 */

/* [头文件] Zephyr 内核、GPIO 驱动和日志 */
#include <zephyr/kernel.h>
#include <zephyr/drivers/gpio.h>
#include <zephyr/logging/log.h>

/* [日志] 注册 LED_TASK 模块 */
LOG_MODULE_REGISTER(LED_TASK, LOG_LEVEL_INF);

/* [设备树] 从别名 green-led 获取 GPIO 规格 */
static const struct gpio_dt_spec led = GPIO_DT_SPEC_GET(DT_ALIAS(led0), gpios);

/**
 * @brief LED 线程入口函数
 *
 * 每 500ms 翻转一次绿色 LED，产生 1Hz 闪烁效果。
 *
 * @param p1, p2, p3 线程参数（由 K_THREAD_DEFINE 传入，此处未使用）
 */
void led_thread_entry(void *p1, void *p2, void *p3)
{
	/* [延时] 启动后短暂休眠 100ms，确保系统其他组件初始化完成 */
	k_msleep(100);

	LOG_INF("LED Thread started");

	int ret; /* 函数返回状态码 */

	/* [检查] 验证 GPIO 设备是否已就绪 */
	if (gpio_is_ready_dt(&led)) {
		LOG_DBG("Found LED device %s", led.port->name);
	} else {
		LOG_ERR("LED device %s is not ready", led.port->name);
		return; /* 设备不可用，终止线程 */
	}

	/* [配置] 设置 GPIO 为输出，初始状态为关闭（共阳极：高电平=灭） */
	ret = gpio_pin_configure_dt(&led, GPIO_OUTPUT_INACTIVE);
	if (ret < 0) {
		LOG_ERR("Error: Failed to configure LED pin (ret=%d)", ret);
		while (1) { return; }
	}

	/* [LED 周期] 主循环 — 500ms 翻转一次，1Hz 闪烁 */
	while (1) {
		/* [延时] 休眠 500 毫秒 */
		k_msleep(500);

		/* [操作] 翻转 LED 引脚电平 */
		gpio_pin_toggle_dt(&led);
	}
}

/* [线程配置] 栈大小和优先级 */
#define LED_STACK_SIZE 1024  /* 线程栈大小（单位：字节） */
#define LED_PRIORITY 15      /* 线程优先级（数字越大优先级越低） */

/**
 * @brief 定义并自动启动 LED 线程
 *
 * K_THREAD_DEFINE 参数依次为：
 * 线程 ID, 栈大小, 入口函数, 参数1, 参数2, 参数3, 优先级, 选项, 启动延迟
 */
K_THREAD_DEFINE(led_tid, LED_STACK_SIZE,
		led_thread_entry, NULL, NULL, NULL,
		LED_PRIORITY, 0, 0);
```

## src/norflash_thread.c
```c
/*
 * norflash_thread.c — W25Q128 NOR Flash 自检（QSPI indirect 模式）
 *
 * 验证 QSPI 间接模式驱动正常 → 擦除/写入/API读取测试通过 → 永久休眠
 *
 * ★ 重要: 不开 MEMMAP, 使用 QSPI indirect 模式（普通读/写/擦除指令）
 *   STM32L4 QUADSPI 只有一套控制逻辑, indirect 和 memory-mapped 模式互斥
 */

#include <zephyr/kernel.h>
#include <zephyr/device.h>
#include <zephyr/drivers/flash.h>
#include <zephyr/logging/log.h>
#include <string.h>

LOG_MODULE_REGISTER(NOR_TASK, LOG_LEVEL_INF);

/* [设备树] W25Q128 NOR Flash 节点 */
#define FLASH_NODE       DT_NODELABEL(w25q128jv)
/* [配置] 测试偏移地址 — 选靠后的扇区, 避免覆盖 slot1 分区数据 */
#define TEST_OFFSET      0x00803000
/* [配置] W25Q128 扇区大小 4KB */
#define TEST_SECTOR_SIZE 4096

static const struct device *flash_dev = DEVICE_DT_GET(FLASH_NODE);

void norflash_thread_entry(void *p1, void *p2, void *p3)
{
	int ret;
	uint8_t write_data[] = "Hello Pandora! W25Q128 Indirect Mode OK.";
	uint8_t read_data[sizeof(write_data)];

	LOG_INF("Nor Flash 测试线程已启动 (QSPI indirect 模式)");

	/*
	 * ★ 绕过 Zephyr 设备框架限制:
	 *   MCUboot 先初始化 QSPI 后, App 的设备框架跳过本驱动的 init 调用
	 *   解决: 通过 device 结构体中的函数指针手动调用 init
	 */
	if (!device_is_ready(flash_dev)) {
		LOG_WRN("QSPI not ready, calling init manually...");

		/* device.ops.init 在 struct device 偏移 20 字节处 */
		int (*init_fn)(const struct device *) =
			*(int (**)(const struct device *))(
				(char *)flash_dev + 20);

		int rc = init_fn(flash_dev);
		if (rc < 0) {
			LOG_ERR("Manual QSPI init failed: %d", rc);
			return;
		}

		if (!device_is_ready(flash_dev)) {
			LOG_ERR("Still not ready after manual init!");
			return;
		}
		LOG_INF("Manual QSPI init succeeded!");
	}
	LOG_INF("找到设备: %s", flash_dev->name);

	while (1) {
		LOG_INF("========== 开始新一轮 Nor Flash 测试 (indirect 模式) ==========");

		/* [操作] 擦除扇区 — QSPI indirect 擦除指令 */
		LOG_INF("1. 正在擦除偏移地址 0x%x 处的扇区 (indirect 模式)...", TEST_OFFSET);
		ret = flash_erase(flash_dev, TEST_OFFSET, TEST_SECTOR_SIZE);
		if (ret != 0) {
			LOG_ERR("擦除失败! 错误码: %d", ret);
			k_msleep(5000);
			continue;
		}
		LOG_INF("擦除成功！");

		/* [操作] 写入测试数据 — QSPI indirect 页编程指令 */
		LOG_INF("2. 正在写入数据: \"%s\" (indirect 模式)...", write_data);
		ret = flash_write(flash_dev, TEST_OFFSET, write_data, sizeof(write_data));
		if (ret != 0) {
			LOG_ERR("写入失败! 错误码: %d", ret);
			k_msleep(5000);
			continue;
		}
		LOG_INF("写入成功！");

		/* [操作] API 读取校验 — QSPI indirect 读指令 */
		LOG_INF("3. 正在通过 flash_read() API 读取校验 (indirect 模式)...");
		ret = flash_read(flash_dev, TEST_OFFSET, read_data, sizeof(read_data));
		if (ret != 0) {
			LOG_ERR("读取失败! 错误码: %d", ret);
			k_msleep(5000);
			continue;
		}
		LOG_INF("API 读取到的内容: \"%s\"", read_data);

		/* [校验] 比较写入和读取的数据 — 纯 API 方式, 不依赖 MEMMAP */
		if (memcmp(read_data, write_data, sizeof(write_data)) == 0) {
			LOG_INF("成功：API 读取数据与写入数据完全一致！");
			LOG_INF(">>> QSPI indirect 模式验证通过，线程永久休眠 <<<");
			k_sleep(K_FOREVER);
		} else {
			LOG_WRN("警告：校验不一致，5秒后重试...");
			k_msleep(5000);
		}
	}
}

K_THREAD_DEFINE(nor_tid, 2048,
		norflash_thread_entry, NULL, NULL, NULL,
		17, 0, 0);
```
